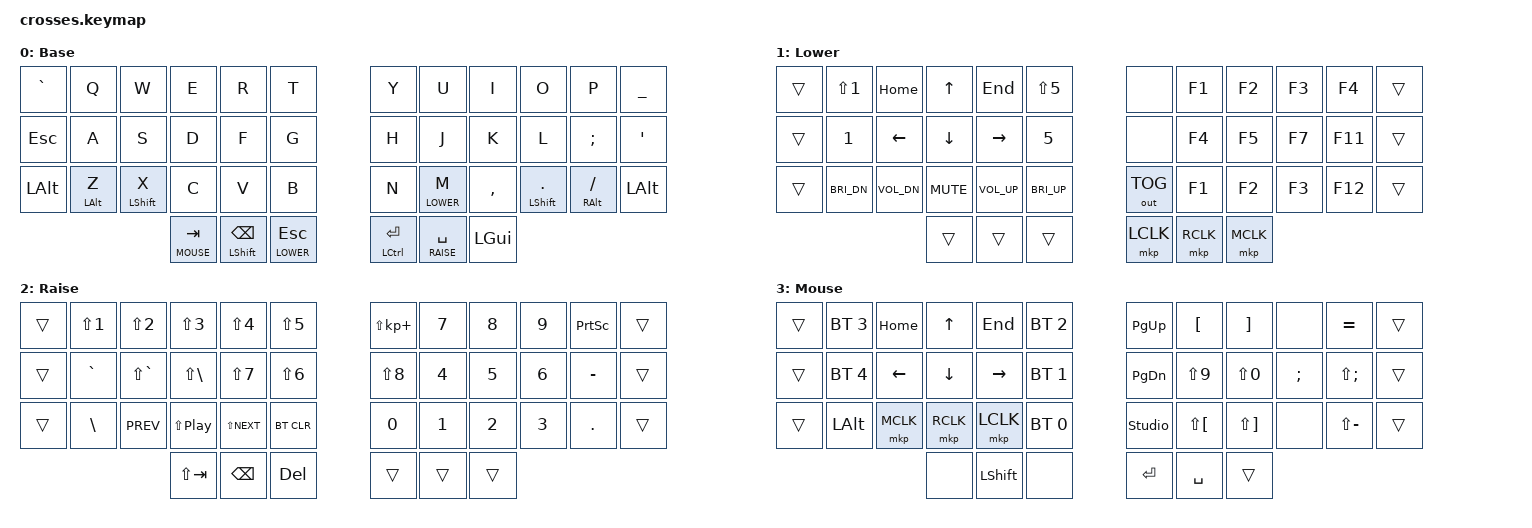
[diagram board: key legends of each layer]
/*
 * Crosses 36 (3x6, single right trackball) keymap.
 *
 * Inner 3x5+3 block mirrors vergilcw/zmk-for-crosses35-dual config/crosses.keymap
 * (exported from ZMK Studio 2026-10-10), except: ; is on the home row and ' moves
 * to the outer column, and the Q+W -> Esc combo is dropped. Outer pinky columns are new:
 *   Base L: ` ~ / Esc / Alt    Base R: _ / ' / Alt    other layers: &trans
 * Trackball (PMW3610 driver, boards/shields/crosses/crosses_right.overlay/.conf): pointer on
 * Base and Mouse, 2-axis scroll on Lower, slow "snipe" pointer on Raise; all rotated -45 deg.
 */

#include <behaviors.dtsi>
#include <dt-bindings/zmk/bt.h>
#include <dt-bindings/zmk/keys.h>
#include <dt-bindings/zmk/outputs.h>
#include <dt-bindings/zmk/pointing.h>

#define BASE  0
#define LOWER 1
#define RAISE 2
#define MOUSE 3

/ {
    keymap {
        compatible = "zmk,keymap";

        default_layer {
            display-name = "Base";
            bindings = <
&kp GRAVE  &kp Q       &kp W        &kp E  &kp R  &kp T    &kp Y  &kp U        &kp I      &kp O          &kp P          &kp UNDER
&kp ESC    &kp A       &kp S        &kp D  &kp F  &kp G    &kp H  &kp J        &kp K      &kp L          &kp SEMI       &kp SQT
&kp LALT   &mt LALT Z  &mt LSHFT X  &kp C  &kp V  &kp B    &kp N  &lt LOWER M  &kp COMMA  &mt LSHFT DOT  &mt RALT FSLH  &kp LALT
                         &lt MOUSE TAB  &mt LSHFT BSPC  &lt LOWER ESC    &mt LCTRL RET  &lt RAISE SPACE  &kp LGUI
            >;
        };

        lower_layer {
            display-name = "Lower";
            bindings = <
&trans  &kp LS(N1)    &kp HOME      &kp UP      &kp END       &kp LS(N5)      &none         &kp F1  &kp F2  &kp F3  &kp F4   &trans
&trans  &kp N1        &kp LEFT      &kp DOWN    &kp RIGHT     &kp N5          &none         &kp F4  &kp F5  &kp F7  &kp F11  &trans
&trans  &kp C_BRI_DN  &kp C_VOL_DN  &kp C_MUTE  &kp C_VOL_UP  &kp C_BRI_UP    &out OUT_TOG  &kp F1  &kp F2  &kp F3  &kp F12  &trans
                                    &trans      &trans        &trans          &mkp LCLK     &mkp RCLK  &mkp MCLK
            >;
        };

        raise_layer {
            display-name = "Raise";
            bindings = <
&trans  &kp LS(N1)  &kp LS(N2)     &kp LS(N3)    &kp LS(N4)      &kp LS(N5)    &kp LS(KP_PLUS)  &kp N7  &kp N8  &kp N9  &kp PSCRN  &trans
&trans  &kp GRAVE   &kp LS(GRAVE)  &kp LS(BSLH)  &kp LS(N7)      &kp LS(N6)    &kp LS(N8)       &kp N4  &kp N5  &kp N6  &kp MINUS  &trans
&trans  &kp BSLH    &kp C_PREV     &kp LS(C_PP)  &kp LS(C_NEXT)  &bt BT_CLR    &kp N0           &kp N1  &kp N2  &kp N3  &kp DOT    &trans
                                   &kp LS(TAB)   &kp BSPC        &kp DEL       &trans           &trans  &trans
            >;
        };

        mouse_layer {
            display-name = "Mouse";
            bindings = <
&trans  &bt BT_SEL 3  &kp HOME   &kp UP     &kp END    &bt BT_SEL 2    &kp PG_UP       &kp LBKT      &kp RBKT      &none     &kp EQUAL      &trans
&trans  &bt BT_SEL 4  &kp LEFT   &kp DOWN   &kp RIGHT  &bt BT_SEL 1    &kp PG_DN       &kp LS(N9)    &kp LS(N0)    &kp SEMI  &kp LS(SEMI)   &trans
&trans  &kp LALT      &mkp MCLK  &mkp RCLK  &mkp LCLK  &bt BT_SEL 0    &studio_unlock  &kp LS(LBKT)  &kp LS(RBKT)  &none     &kp LS(MINUS)  &trans
                                 &none      &kp LSHFT  &none           &kp RET         &kp SPACE     &trans
            >;
        };
    };
};
